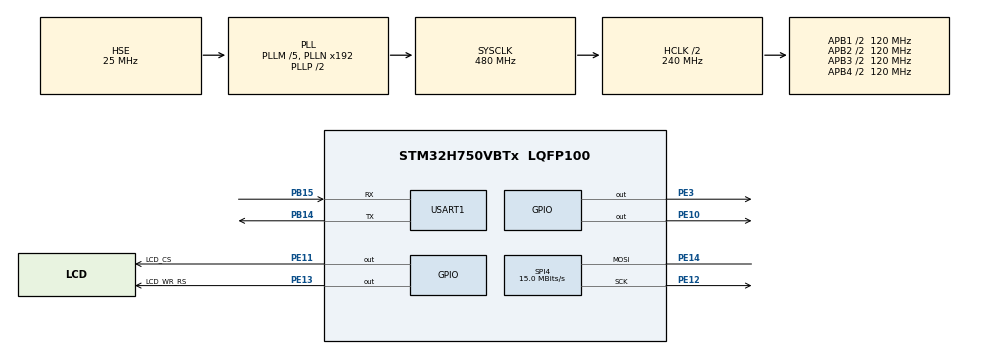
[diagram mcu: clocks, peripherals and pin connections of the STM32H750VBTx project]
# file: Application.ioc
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Dma.Request0=SPI4_TX
Dma.SPI4_TX.0.Direction=DMA_MEMORY_TO_PERIPH
Dma.SPI4_TX.0.EventEnable=DISABLE
Dma.SPI4_TX.0.FIFOMode=DMA_FIFOMODE_DISABLE
Dma.SPI4_TX.0.Instance=DMA1_Stream0
Dma.SPI4_TX.0.MemDataAlignment=DMA_MDATAALIGN_BYTE
Dma.SPI4_TX.0.MemInc=DMA_MINC_ENABLE
Dma.SPI4_TX.0.Mode=DMA_NORMAL
Dma.SPI4_TX.0.PeriphDataAlignment=DMA_PDATAALIGN_BYTE
Dma.SPI4_TX.0.PeriphInc=DMA_PINC_DISABLE
Dma.SPI4_TX.0.Polarity=HAL_DMAMUX_REQ_GEN_RISING
Dma.SPI4_TX.0.Priority=DMA_PRIORITY_LOW
Dma.SPI4_TX.0.RequestNumber=1
Dma.SPI4_TX.0.SignalID=NONE
Dma.SPI4_TX.0.SyncEnable=DISABLE
Dma.SPI4_TX.0.SyncPolarity=HAL_DMAMUX_SYNC_NO_EVENT
Dma.SPI4_TX.0.SyncRequestNumber=1
Dma.SPI4_TX.0.SyncSignalID=NONE
Mcu.Family=STM32H7
Mcu.Name=STM32H750VBTx
Mcu.Package=LQFP100
NVIC.DMA1_Stream0_IRQn=true\:0\:0\:false\:false\:true\:false\:true\:true
NVIC.PriorityGroup=NVIC_PRIORITYGROUP_4
NVIC.SPI4_IRQn=true\:0\:0\:false\:false\:true\:false\:true\:true
NVIC.TIM2_IRQn=true\:0\:0\:false\:false\:true\:true\:true\:true
PB14.Mode=Asynchronous
PB14.Signal=USART1_TX
PB15.Mode=Asynchronous
PB15.Signal=USART1_RX
PC14-OSC32_IN\ (OSC32_IN).Mode=LSE-External-Oscillator
PC14-OSC32_IN\ (OSC32_IN).Signal=RCC_OSC32_IN
PC15-OSC32_OUT\ (OSC32_OUT).Mode=LSE-External-Oscillator
PC15-OSC32_OUT\ (OSC32_OUT).Signal=RCC_OSC32_OUT
PE10.GPIO_Speed=GPIO_SPEED_FREQ_VERY_HIGH
PE10.Signal=GPIO_Output
PE11.GPIO_Label=LCD_CS
PE11.GPIO_Speed=GPIO_SPEED_FREQ_VERY_HIGH
PE11.Signal=GPIO_Output
PE12.GPIO_Speed=GPIO_SPEED_FREQ_VERY_HIGH
PE12.Mode=Simplex_Bidirectional_Master
PE12.Signal=SPI4_SCK
PE13.GPIO_Label=LCD_WR_RS
PE13.GPIO_Speed=GPIO_SPEED_FREQ_VERY_HIGH
PE13.Signal=GPIO_Output
PE14.GPIO_Speed=GPIO_SPEED_FREQ_VERY_HIGH
PE14.Mode=Simplex_Bidirectional_Master
PE14.Signal=SPI4_MOSI
PE3.GPIO_Speed=GPIO_SPEED_FREQ_LOW
PE3.Signal=GPIO_Output
PH0-OSC_IN\ (PH0).Mode=HSE-External-Oscillator
PH0-OSC_IN\ (PH0).Signal=RCC_OSC_IN
PH1-OSC_OUT\ (PH1).Mode=HSE-External-Oscillator
PH1-OSC_OUT\ (PH1).Signal=RCC_OSC_OUT
ProjectManager.HeapSize=0x200
ProjectManager.StackSize=0x400
ProjectManager.TargetToolchain=STM32CubeIDE
RCC.ADCFreq_Value=50390625
RCC.APB1Freq_Value=120000000
RCC.APB2Freq_Value=120000000
RCC.APB3Freq_Value=120000000
RCC.APB4Freq_Value=120000000
RCC.CortexFreq_Value=480000000
RCC.D1PPRE=RCC_APB3_DIV2
RCC.D2PPRE1=RCC_APB1_DIV2
RCC.D2PPRE2=RCC_APB2_DIV2
RCC.D3PPRE=RCC_APB4_DIV2
RCC.DIVM1=5
RCC.DIVN1=192
RCC.HCLKFreq_Value=240000000
RCC.HPRE=RCC_HCLK_DIV2
RCC.PLL2FRACN=0
RCC.PLL3FRACN=0
RCC.PLLFRACN=0
RCC.PLLSourceVirtual=RCC_PLLSOURCE_HSE
RCC.PWR_Regulator_Voltage_Scale=PWR_REGULATOR_VOLTAGE_SCALE0
RCC.ProductRev=revV
RCC.SYSCLKFreq_VALUE=480000000
RCC.SYSCLKSource=RCC_SYSCLKSOURCE_PLLCLK
RCC.USBFreq_Value=480000000
SPI4.BaudRatePrescaler=SPI_BAUDRATEPRESCALER_8
SPI4.CalculateBaudRate=15.0 MBits/s
SPI4.DataSize=SPI_DATASIZE_8BIT
SPI4.Direction=SPI_DIRECTION_1LINE
SPI4.Mode=SPI_MODE_MASTER
SPI4.VirtualType=VM_MASTER
TIM2.Period=9999
TIM2.Prescaler=22
USART1.VirtualMode-Asynchronous=VM_ASYNC
VP_TIM2_VS_ClockSourceINT.Mode=Internal
board=custom

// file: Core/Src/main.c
/* USER CODE BEGIN Header */
/**
  ******************************************************************************
  * @file           : main.c
  * @brief          : Main program body
  ******************************************************************************
  * @attention
  *
  * Copyright (c) 2023 STMicroelectronics.
  * All rights reserved.
  *
  * This software is licensed under terms that can be found in the LICENSE file
  * in the root directory of this software component.
  * If no LICENSE file comes with this software, it is provided AS-IS.
  *
  ******************************************************************************
  */
/* USER CODE END Header */
#include "main.h"
#include "dma.h"
#include "spi.h"
#include "tim.h"
#include "usart.h"
#include "gpio.h"

/* USER CODE BEGIN Includes */
#include "Retarget.h"
#include "demos/stress/lv_demo_stress.h"
#include "examples/lv_examples.h"
#include "lv_port_disp.h"
#include "lvgl.h"
#include "st7735.h"
/* USER CODE END Includes */

void SystemClock_Config(void);

int main(void)
{
  /* USER CODE BEGIN 1 */
    for (uint8_t i = 0; i < 8; i++) {
        NVIC->ICER[i] = 0xFFFFFFFF;
        NVIC->ICPR[i] = 0xFFFFFFFF;
    }
    SCB->VTOR = QSPI_BASE;
    __enable_irq();
    __set_PRIMASK(0);
  /* USER CODE END 1 */

  /* MCU Configuration--------------------------------------------------------*/

  /* Reset of all peripherals, Initializes the Flash interface and the Systick. */
  HAL_Init();

  /* Configure the system clock */
  SystemClock_Config();

  /* Initialize all configured peripherals */
  MX_GPIO_Init();
  MX_DMA_Init();
  MX_USART1_UART_Init();
  MX_SPI4_Init();
  MX_TIM2_Init();
  /* USER CODE BEGIN 2 */
    //  HAL_TIM_Base_Start(&htim1);
    HAL_TIM_Base_Start_IT(&htim2);
    RetargetInit(&huart1);

    ST7735_Init();

    lv_init();
    lv_port_disp_init();

    //    lv_example_arc_1();
    //    lv_example_btn_1();
    //    lv_example_bar_1();
    //    lv_demo_stress();
    lv_demo_benchmark();
    //    lv_demo_music();

  /* USER CODE END 2 */

  /* Infinite loop */
    while (1) {

    /* USER CODE BEGIN 3 */
        lv_timer_handler();
        HAL_Delay(3);
    }
  /* USER CODE END 3 */
}

void SystemClock_Config(void)
{
  RCC_OscInitTypeDef RCC_OscInitStruct = {0};
  RCC_ClkInitTypeDef RCC_ClkInitStruct = {0};

  /** Supply configuration update enable
  */
  HAL_PWREx_ConfigSupply(PWR_LDO_SUPPLY);

  /** Configure the main internal regulator output voltage
  */
  __HAL_PWR_VOLTAGESCALING_CONFIG(PWR_REGULATOR_VOLTAGE_SCALE1);

  while(!__HAL_PWR_GET_FLAG(PWR_FLAG_VOSRDY)) {}

  __HAL_RCC_SYSCFG_CLK_ENABLE();
  __HAL_PWR_VOLTAGESCALING_CONFIG(PWR_REGULATOR_VOLTAGE_SCALE0);

  while(!__HAL_PWR_GET_FLAG(PWR_FLAG_VOSRDY)) {}

  /** Initializes the RCC Oscillators according to the specified parameters
  * in the RCC_OscInitTypeDef structure.
  */
  RCC_OscInitStruct.OscillatorType = RCC_OSCILLATORTYPE_HSE;
  RCC_OscInitStruct.HSEState = RCC_HSE_ON;
  RCC_OscInitStruct.PLL.PLLState = RCC_PLL_ON;
  RCC_OscInitStruct.PLL.PLLSource = RCC_PLLSOURCE_HSE;
  RCC_OscInitStruct.PLL.PLLM = 5;
  RCC_OscInitStruct.PLL.PLLN = 192;
  RCC_OscInitStruct.PLL.PLLP = 2;
  RCC_OscInitStruct.PLL.PLLQ = 2;
  RCC_OscInitStruct.PLL.PLLR = 2;
  RCC_OscInitStruct.PLL.PLLRGE = RCC_PLL1VCIRANGE_2;
  RCC_OscInitStruct.PLL.PLLVCOSEL = RCC_PLL1VCOWIDE;
  RCC_OscInitStruct.PLL.PLLFRACN = 0;
  if (HAL_RCC_OscConfig(&RCC_OscInitStruct) != HAL_OK)
  {
    Error_Handler();
  }

  /** Initializes the CPU, AHB and APB buses clocks
  */
  RCC_ClkInitStruct.ClockType = RCC_CLOCKTYPE_HCLK|RCC_CLOCKTYPE_SYSCLK
                              |RCC_CLOCKTYPE_PCLK1|RCC_CLOCKTYPE_PCLK2
                              |RCC_CLOCKTYPE_D3PCLK1|RCC_CLOCKTYPE_D1PCLK1;
  RCC_ClkInitStruct.SYSCLKSource = RCC_SYSCLKSOURCE_PLLCLK;
  RCC_ClkInitStruct.SYSCLKDivider = RCC_SYSCLK_DIV1;
  RCC_ClkInitStruct.AHBCLKDivider = RCC_HCLK_DIV2;
  RCC_ClkInitStruct.APB3CLKDivider = RCC_APB3_DIV2;
  RCC_ClkInitStruct.APB1CLKDivider = RCC_APB1_DIV2;
  RCC_ClkInitStruct.APB2CLKDivider = RCC_APB2_DIV2;
  RCC_ClkInitStruct.APB4CLKDivider = RCC_APB4_DIV2;

  if (HAL_RCC_ClockConfig(&RCC_ClkInitStruct, FLASH_LATENCY_4) != HAL_OK)
  {
    Error_Handler();
  }
}

void Error_Handler(void)
{
    __disable_irq();
    while (1) {
    }
}
